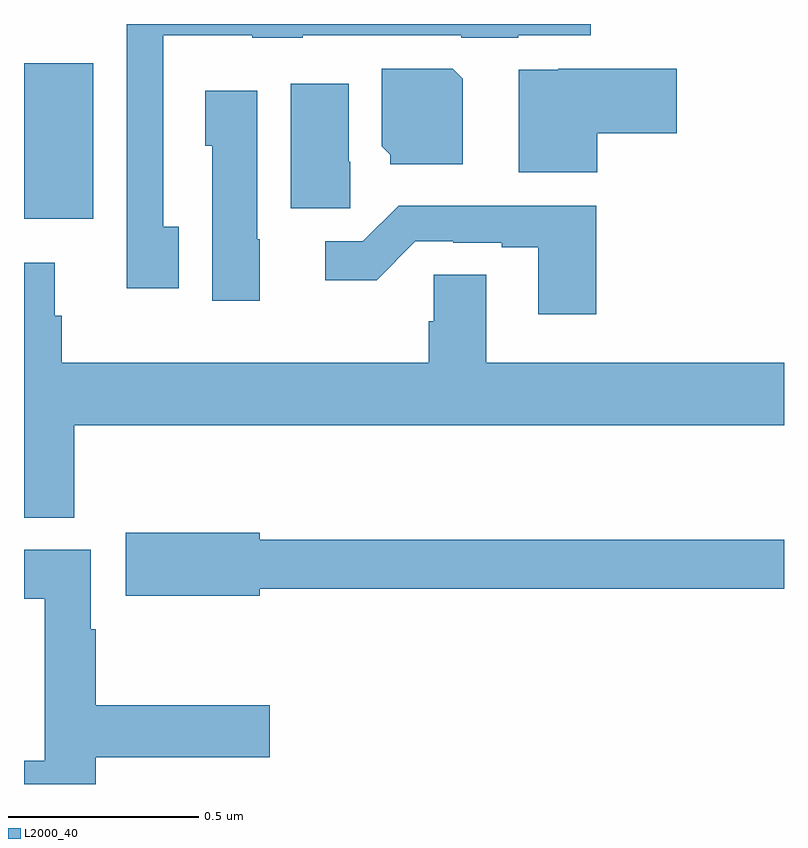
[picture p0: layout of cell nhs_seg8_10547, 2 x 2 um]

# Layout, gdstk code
import gdstk
lib = gdstk.Library(unit=1e-6, precision=1e-09)
def R(c, l, rs):  # rectangles x0, y0, x1, y1
    for r in rs: c.add(gdstk.rectangle(r[:2], r[2:], *l))
def P(c, l, *ps):  # polygons
    for p in ps: c.add(gdstk.Polygon(p, *l))
L2000_40 = (2000, 40)

nhs_seg8_10547 = lib.new_cell('nhs_seg8_10547')
R(nhs_seg8_10547, L2000_40, [(251,1106.387,251.182,1106.797)])
P(nhs_seg8_10547, L2000_40, [(251.407,1106.366),(251.367,1106.366),(251.367,1106.87),(251.601,1106.87),(251.601,1106.864),(251.733,1106.864),(251.733,1106.871),(252.15,1106.871),(252.15,1106.864),(252.3,1106.864),(252.3,1106.87),(252.491,1106.87),(252.491,1106.9),(251.271,1106.9),(251.271,1106.205),(251.407,1106.205)],
  [(252.508,1106.612),(252.718,1106.612),(252.718,1106.782),(252.406,1106.782),(252.406,1106.78),(252.302,1106.78),(252.302,1106.51),(252.508,1106.51)],
  [(252.154,1106.756),(252.128,1106.782),(251.942,1106.782),(251.942,1106.578),(251.964,1106.556),(251.964,1106.531),(252.154,1106.531)],
  [(251.858,1106.538),(251.854,1106.538),(251.854,1106.743),(251.702,1106.743),(251.702,1106.415),(251.858,1106.415)],
  [(251.62,1106.334),(251.614,1106.334),(251.614,1106.725),(251.477,1106.725),(251.477,1106.58),(251.495,1106.58),(251.495,1106.172),(251.62,1106.172)],
  [(252.506,1106.422),(251.986,1106.422),(251.892,1106.328),(251.793,1106.328),(251.793,1106.226),(251.928,1106.226),(252.03,1106.328),(252.13,1106.328),(252.13,1106.325),(252.257,1106.325),(252.257,1106.313),(252.353,1106.313),(252.353,1106.136),(252.506,1106.136)],
  [(253,1106.008),(252.217,1106.008),(252.217,1106.24),(252.078,1106.24),(252.078,1106.118),(252.065,1106.118),(252.065,1106.008),(251.099,1106.008),(251.099,1106.132),(251.081,1106.132),(251.081,1106.272),(251,1106.272),(251,1105.601),(251.132,1105.601),(251.132,1105.844),(253,1105.844)],
  [(251.62,1105.414),(253,1105.414),(253,1105.543),(251.62,1105.543),(251.62,1105.561),(251.268,1105.561),(251.268,1105.396),(251.62,1105.396)],
  [(251.189,1104.97),(251.647,1104.97),(251.647,1105.107),(251.189,1105.107),(251.189,1105.307),(251.176,1105.307),(251.176,1105.516),(251,1105.516),(251,1105.388),(251.054,1105.388),(251.054,1104.961),(251,1104.961),(251,1104.9),(251.189,1104.9)])

lib.write_gds('nhs_seg8_10547.gds')
